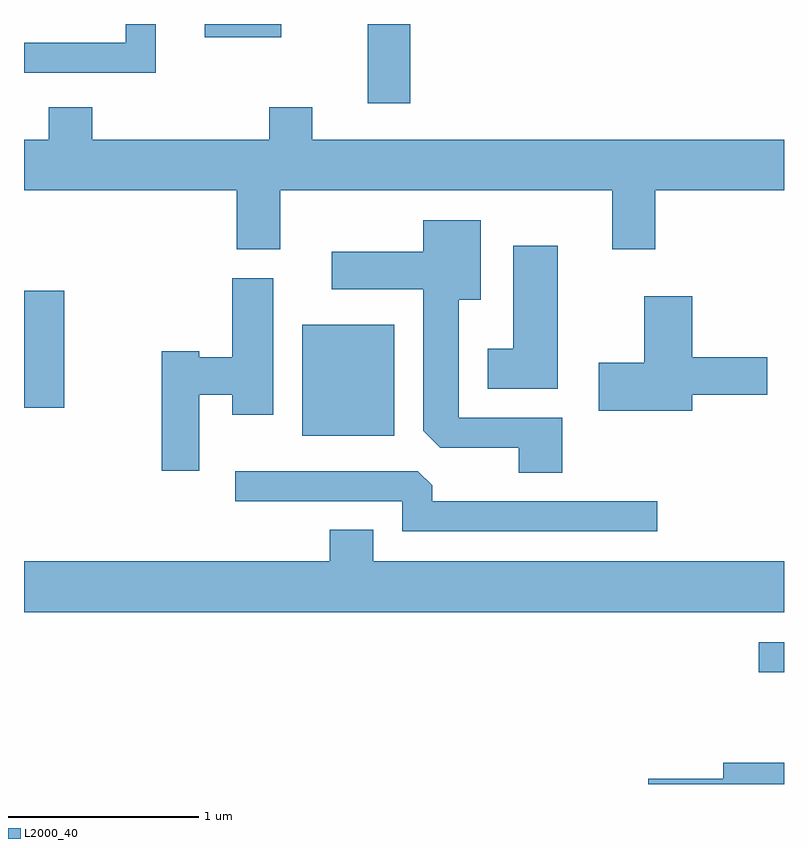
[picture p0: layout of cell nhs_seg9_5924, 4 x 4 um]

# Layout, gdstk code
import gdstk
lib = gdstk.Library(unit=1e-6, precision=1e-09)
def R(c, l, rs):  # rectangles x0, y0, x1, y1
    for r in rs: c.add(gdstk.rectangle(r[:2], r[2:], *l))
def P(c, l, *ps):  # polygons
    for p in ps: c.add(gdstk.Polygon(p, *l))
L2000_40 = (2000, 40)

nhs_seg9_5924 = lib.new_cell('nhs_seg9_5924')
R(nhs_seg9_5924, L2000_40, [(363.478,2027.021,363.611,2027.179), (361.076,2028.266,361.559,2028.849), (359.611,2028.411,359.824,2029.029), (361.421,2030.016,361.644,2030.432), (360.563,2030.361,360.964,2030.432)])
P(nhs_seg9_5924, L2000_40, [(360.304,2030.432),(360.146,2030.432),(360.146,2030.334),(359.611,2030.334),(359.611,2030.176),(360.304,2030.176)],
  [(360.959,2029.556),(362.706,2029.556),(362.706,2029.246),(362.934,2029.246),(362.934,2029.556),(363.611,2029.556),(363.611,2029.824),(361.129,2029.824),(361.129,2029.994),(360.901,2029.994),(360.901,2029.824),(359.969,2029.824),(359.969,2029.994),(359.741,2029.994),(359.741,2029.824),(359.611,2029.824),(359.611,2029.556),(360.731,2029.556),(360.731,2029.246),(360.959,2029.246)],
  [(362.444,2028.359),(361.899,2028.359),(361.899,2028.981),(362.014,2028.981),(362.014,2029.399),(361.711,2029.399),(361.711,2029.234),(361.231,2029.234),(361.231,2029.036),(361.711,2029.036),(361.711,2028.292),(361.802,2028.201),(362.216,2028.201),(362.216,2028.071),(362.444,2028.071)],
  [(362.419,2029.264),(362.186,2029.264),(362.186,2028.724),(362.051,2028.724),(362.051,2028.511),(362.419,2028.511)],
  [(360.534,2028.481),(360.706,2028.481),(360.706,2028.376),(360.924,2028.376),(360.924,2029.094),(360.706,2029.094),(360.706,2028.679),(360.534,2028.679),(360.534,2028.709),(360.336,2028.709),(360.336,2028.081),(360.534,2028.081)],
  [(363.129,2028.481),(363.524,2028.481),(363.524,2028.679),(363.129,2028.679),(363.129,2028.999),(362.876,2028.999),(362.876,2028.649),(362.636,2028.649),(362.636,2028.396),(363.129,2028.396)],
  [(362.943,2027.919),(361.759,2027.919),(361.759,2028.004),(361.684,2028.079),(360.723,2028.079),(360.723,2027.921),(361.601,2027.921),(361.601,2027.761),(362.943,2027.761)],
  [(363.611,2027.604),(361.449,2027.604),(361.449,2027.769),(361.221,2027.769),(361.221,2027.604),(359.611,2027.604),(359.611,2027.336),(363.611,2027.336)],
  [(363.611,2026.544),(363.291,2026.544),(363.291,2026.459),(362.896,2026.459),(362.896,2026.432),(363.611,2026.432)])

lib.write_gds('nhs_seg9_5924.gds')
